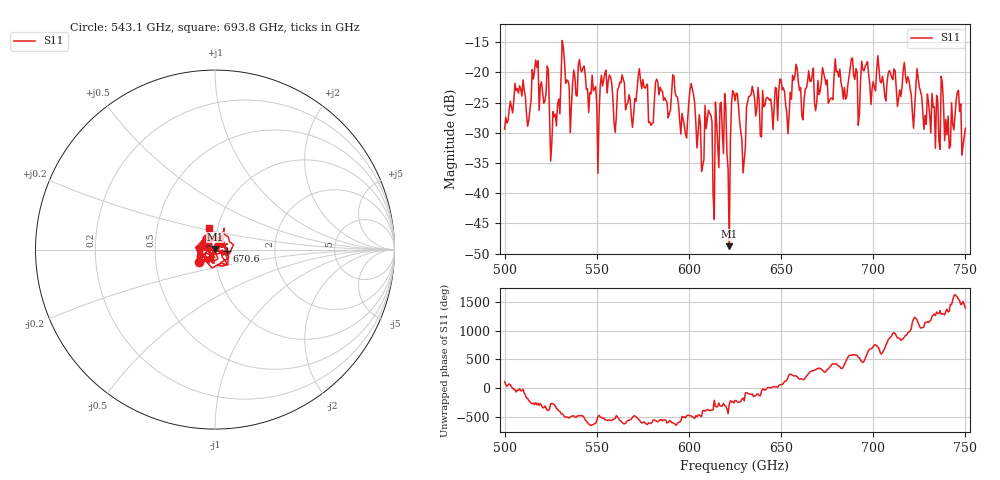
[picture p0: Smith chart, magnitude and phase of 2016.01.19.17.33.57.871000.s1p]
!Created with skrf (http://scikit-rf.org).
# GHz S RI R 50.0
!freq ReS11 ImS11
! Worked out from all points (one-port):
!   401 points, 500 GHz to 750 GHz, reference 50 ohm
!   lowest |S11| = -48.8 dB at 621.9 GHz (marker M1), VSWR 1.01, Z = 50.1 + j0.36 ohm
!   |S11| at or under -10 dB: start of sweep to end of sweep
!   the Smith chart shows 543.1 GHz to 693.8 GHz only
!   S11 on the Smith chart (normalised r, x): 543.1 GHz: 0.83, -0.12; 670.6 GHz: 1.14, -0.02; 693.8 GHz: 0.91, +0.22
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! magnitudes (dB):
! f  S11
! 500 GHz  -29.4
! 506.9 GHz  -22.7
! 513.1 GHz  -27.9
! 516.9 GHz  -17.9
! 526.2 GHz  -26.5
! 531.2 GHz  -14.7
! 543.1 GHz  -18.9
! 550 GHz  -25.1
! 562.5 GHz  -21.6
! 579.4 GHz  -28.8
! 583.1 GHz  -21.7
! 593.8 GHz  -24.1
! 598.1 GHz  -30.2
! 601.9 GHz  -22.8
! 606.9 GHz  -36.4
! 611.2 GHz  -26.8
! 614.4 GHz  -24.9
! 618.8 GHz  -33.4
! 621.9 GHz  -48.8
! 625 GHz  -24.7
! 629.4 GHz  -36.6
! 633.8 GHz  -23.6
! 656.2 GHz  -20.5
! 670.6 GHz  -23.7
! 687.5 GHz  -19.2
! 693.8 GHz  -18.2
! 718.8 GHz  -20.7
! 750 GHz  -29.2
